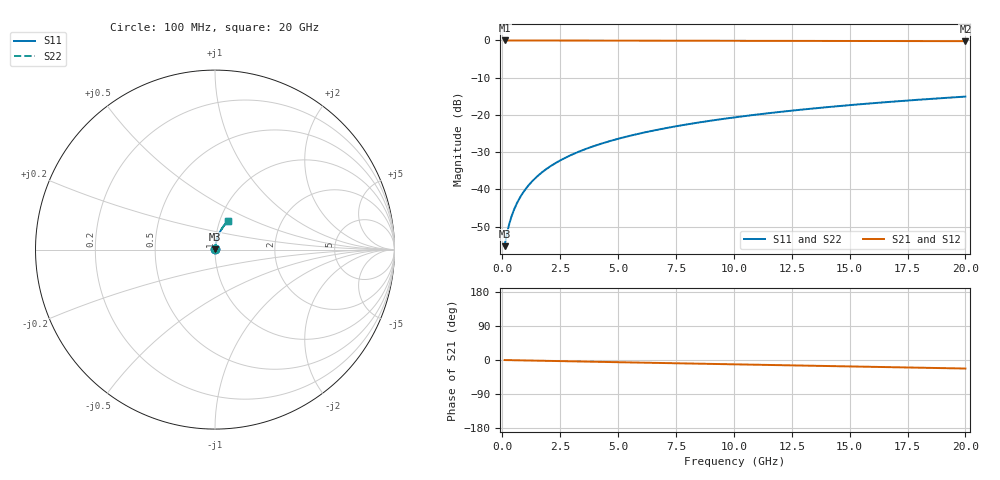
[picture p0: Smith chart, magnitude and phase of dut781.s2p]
! Touchstone file exported from HFSS 2026.1.0
!  File:  C:/ffzhzh/LocalFiles/Ansys_Project_Files/temp_train_BSMRDL_781_1783169378_51560.aedt
!  Generated:  08:50:51 PM Jul  4, 2026
!  Design:  BSMRDL
!  Project:  temp_train_BSMRDL_781_1783169378_51560
! Variables:
!  h_bsmrdl = 4.81um
!  h_ox = 20um
!  h_rdl = 5um
!  h_sub = 80um
!  h_tmrdl = 5um
!  h_tsv = 80um
!  h_via = 3um
!  l_bsmrdl = 335.86um
!  l_sub = 735.86um
!  l_tmrdl = 200um
!  m_sub = 200um
!  pitch = 38.95um
!  r_tsv = 6um
!  s_tmrdl = 10um
!  w_bsmrdl = 21.35um
!  w_sub = 500um
!  w_tmrdl = 12um
!  x_tsv_center1 = 206um
!  x_tsv_center2 = 563.21um
!  x_tsv_center3 = 775.21um
!  x_tsv_center4 = 1132.42um
!  x_tsv_center5 = 1344.42um
!  x_tsv_center6 = 1701.63um
# GHz S MA R 50.000000
! Terminal data exported
! Port[1] = BSM_RDL1_1_T1
! Port[2] = BSM_RDL1_1_T2
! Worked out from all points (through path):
!   200 points, 100 MHz to 20 GHz, reference 50 ohm
!   highest |S21| = -0.01 dB at 100 MHz (marker M1); lowest = -0.2 dB at 20 GHz (marker M2)
!   group delay of S21, straight-line fit = 3.12 ps
!   lowest |S11| = -55.2 dB at 100 MHz (marker M3), VSWR 1.00, Z = 50.1 + j0.111 ohm
!   |S11| at or under -10 dB: start of sweep to end of sweep
!   |S22| runs from -55.2 to -15.1 dB; largest |S21 - S12| = 4.2e-15
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0.1  0.001733 39.8  0.9987 -0.1  0.9987 -0.1  0.001733 39.8
! Gamma 0 0 0 0
! Port Impedance 50 0 50 0
0.2  0.002566 56.0  0.9986 -0.2  0.9986 -0.2  0.002566 56.0
0.3  0.00345 64.0  0.9985 -0.4  0.9985 -0.4  0.00345 64.0
0.4  0.004358 68.9  0.9984 -0.5  0.9984 -0.5  0.004359 68.9
0.5  0.005285 72.1  0.9984 -0.6  0.9984 -0.6  0.005286 72.1
0.6  0.006227 74.4  0.9983 -0.7  0.9983 -0.7  0.006227 74.4
0.8  0.008135 77.4  0.9983 -0.9  0.9983 -0.9  0.008135 77.4
1.1  0.01103 79.7  0.9982 -1.3  0.9982 -1.3  0.01103 79.7
1.5  0.0149 81.1  0.998 -1.8  0.998 -1.8  0.0149 81.1
1.8  0.01779 81.6  0.9979 -2.1  0.9979 -2.1  0.01779 81.6
2.1  0.02068 81.8  0.9977 -2.5  0.9977 -2.5  0.02068 81.8
2.7  0.02641 81.8  0.9973 -3.2  0.9973 -3.2  0.02641 81.8
3.5  0.03395 81.4  0.9967 -4.1  0.9967 -4.1  0.03395 81.4
4.2  0.04047 80.8  0.9962 -4.9  0.9962 -4.9  0.04047 80.8
5  0.04783 80.1  0.9955 -5.8  0.9955 -5.8  0.04783 80.1
5.9  0.05603 79.3  0.9947 -6.8  0.9947 -6.8  0.05603 79.3
6.8  0.06415 78.5  0.9938 -7.8  0.9938 -7.8  0.06415 78.5
8.3  0.07753 77.1  0.9924 -9.5  0.9924 -9.5  0.07753 77.1
10.1  0.09338 75.3  0.9905 -11.6  0.9905 -11.6  0.09338 75.3
13.4  0.1218 72.0  0.9866 -15.2  0.9866 -15.2  0.1218 72.0
16.7  0.1495 68.6  0.9822 -18.9  0.9822 -18.9  0.1495 68.6
20  0.1762 65.2  0.9772 -22.5  0.9772 -22.5  0.1762 65.2
